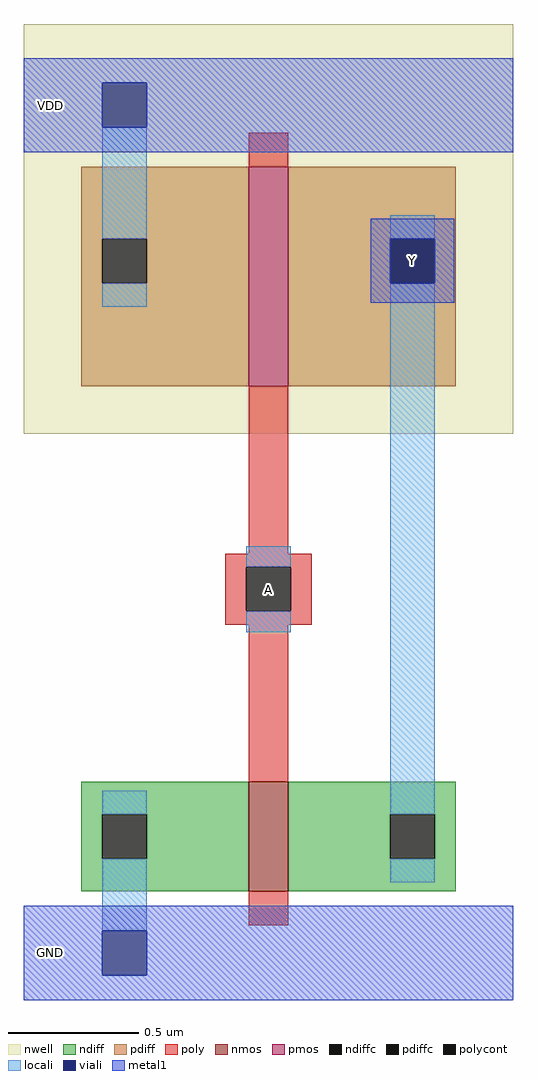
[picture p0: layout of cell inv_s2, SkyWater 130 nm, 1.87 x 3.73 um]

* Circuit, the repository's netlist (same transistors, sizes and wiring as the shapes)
* NGSPICE file created from inv_s2.ext - technology: sky130A

.subckt inv_s2 A Y VDD GND
X0 Y A GND VSUBS sky130_fd_pr__nfet_01v8 ad=0.2688 pd=2.12 as=0.2688 ps=2.12 w=0.42 l=0.15
X1 Y A VDD w_0_397# sky130_fd_pr__pfet_01v8 ad=0.5376 pd=2.96 as=0.5376 ps=2.96 w=0.84 l=0.15
.ends

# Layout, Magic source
magic
tech sky130A
magscale 1 2
<< nwell >>
rect 0 397 374 710
<< nmos >>
rect 172 47 202 131
<< pmos >>
rect 172 433 202 601
<< ndiff >>
rect 44 106 172 131
rect 44 72 60 106
rect 94 72 172 106
rect 44 47 172 72
rect 202 106 330 131
rect 202 72 280 106
rect 314 72 330 106
rect 202 47 330 72
<< pdiff >>
rect 44 546 172 601
rect 44 512 60 546
rect 94 512 172 546
rect 44 433 172 512
rect 202 546 330 601
rect 202 512 280 546
rect 314 512 330 546
rect 202 433 330 512
<< ndiffc >>
rect 60 72 94 106
rect 280 72 314 106
<< pdiffc >>
rect 60 512 94 546
rect 280 512 314 546
<< poly >>
rect 172 601 202 627
rect 172 305 202 433
rect 154 295 220 305
rect 154 261 170 295
rect 204 261 220 295
rect 154 251 220 261
rect 172 131 202 251
rect 172 21 202 47
<< polycont >>
rect 170 261 204 295
<< locali >>
rect 60 546 94 631
rect 60 494 94 512
rect 280 546 314 564
rect 170 295 204 311
rect 170 245 204 261
rect 60 106 94 124
rect 60 17 94 72
rect 280 106 314 512
rect 280 54 314 72
<< viali >>
rect 60 631 94 665
rect 280 512 314 546
rect 60 -17 94 17
<< metal1 >>
rect 0 665 374 684
rect 0 631 60 665
rect 94 631 374 665
rect 0 612 374 631
rect 265 546 329 561
rect 265 512 280 546
rect 314 512 329 546
rect 265 497 329 512
rect 0 17 374 36
rect 0 -17 60 17
rect 94 -17 374 17
rect 0 -36 374 -17
<< labels >>
rlabel polycont 187 278 187 278 0 A
port 1 nsew
rlabel viali 297 529 297 529 0 Y
port 2 nsew
rlabel metal1 20 648 20 648 0 VDD
port 3 nsew
rlabel metal1 20 0 20 0 0 GND
port 4 nsew
<< end >>
